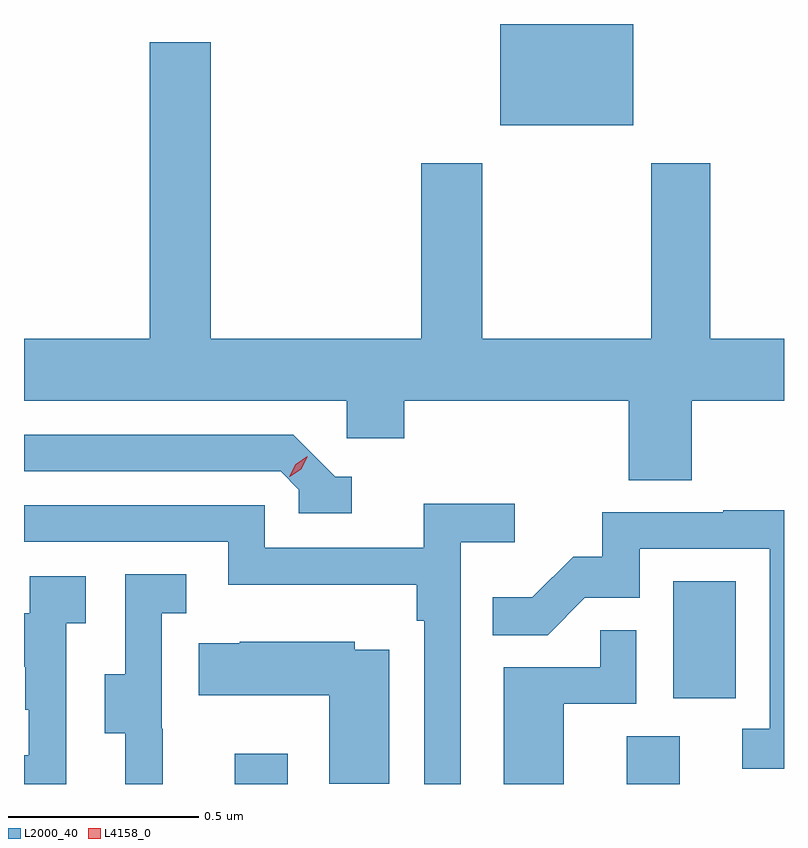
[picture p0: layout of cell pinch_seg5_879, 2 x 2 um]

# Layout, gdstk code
import gdstk
lib = gdstk.Library(unit=1e-6, precision=1e-09)
def R(c, l, rs):  # rectangles x0, y0, x1, y1
    for r in rs: c.add(gdstk.rectangle(r[:2], r[2:], *l))
def P(c, l, *ps):  # polygons
    for p in ps: c.add(gdstk.Polygon(p, *l))
L2000_40 = (2000, 40)
L4158_0 = (4158, 0)

pinch_seg5_879 = lib.new_cell('pinch_seg5_879')
R(pinch_seg5_879, L2000_40, [(834.647,886.388,834.787,886.468), (835.679,886.388,835.819,886.514), (835.802,886.614,835.966,886.921), (835.346,888.122,835.696,888.388)])
P(pinch_seg5_879, L2000_40, [(835.85,887.396),(836.093,887.396),(836.093,887.56),(835.899,887.56),(835.899,888.022),(835.744,888.022),(835.744,887.56),(835.299,887.56),(835.299,888.022),(835.139,888.022),(835.139,887.56),(834.584,887.56),(834.584,888.34),(834.424,888.34),(834.424,887.56),(834.093,887.56),(834.093,887.396),(834.942,887.396),(834.942,887.298),(835.094,887.298),(835.094,887.396),(835.685,887.396),(835.685,887.188),(835.85,887.188)],
  [(834.955,887.196),(834.912,887.196),(834.801,887.307),(834.093,887.307),(834.093,887.211),(834.768,887.211),(834.816,887.163),(834.816,887.1),(834.955,887.1)],
  [(835.242,887.024),(835.384,887.024),(835.384,887.126),(835.145,887.126),(835.145,887.01),(834.726,887.01),(834.726,887.121),(834.093,887.121),(834.093,887.025),(834.63,887.025),(834.63,886.913),(835.126,886.913),(835.126,886.817),(835.146,886.817),(835.146,886.388),(835.242,886.388)],
  [(836.093,887.108),(835.933,887.108),(835.933,887.103),(835.615,887.103),(835.615,886.986),(835.538,886.986),(835.431,886.879),(835.327,886.879),(835.327,886.78),(835.471,886.78),(835.569,886.878),(835.713,886.878),(835.713,887.007),(836.055,887.007),(836.055,886.533),(835.983,886.533),(835.983,886.428),(836.093,886.428)],
  [(834.458,886.533),(834.456,886.533),(834.456,886.837),(834.52,886.837),(834.52,886.94),(834.36,886.94),(834.36,886.677),(834.305,886.677),(834.305,886.522),(834.359,886.522),(834.359,886.388),(834.458,886.388)],
  [(834.204,886.811),(834.256,886.811),(834.256,886.935),(834.108,886.935),(834.108,886.837),(834.093,886.837),(834.093,886.697),(834.096,886.697),(834.096,886.583),(834.106,886.583),(834.106,886.464),(834.093,886.464),(834.093,886.388),(834.204,886.388)],
  [(835.513,886.599),(835.704,886.599),(835.704,886.793),(835.609,886.793),(835.609,886.695),(835.355,886.695),(835.355,886.388),(835.513,886.388)],
  [(835.054,886.741),(834.963,886.741),(834.963,886.762),(834.661,886.762),(834.661,886.759),(834.553,886.759),(834.553,886.622),(834.896,886.622),(834.896,886.389),(835.054,886.389)])
P(pinch_seg5_879, L4158_0, [(834.791,887.197),(834.791,887.197),(834.808,887.23),(834.839,887.25),(834.839,887.25),(834.839,887.249),(834.823,887.216),(834.792,887.197)])

lib.write_gds('pinch_seg5_879.gds')
